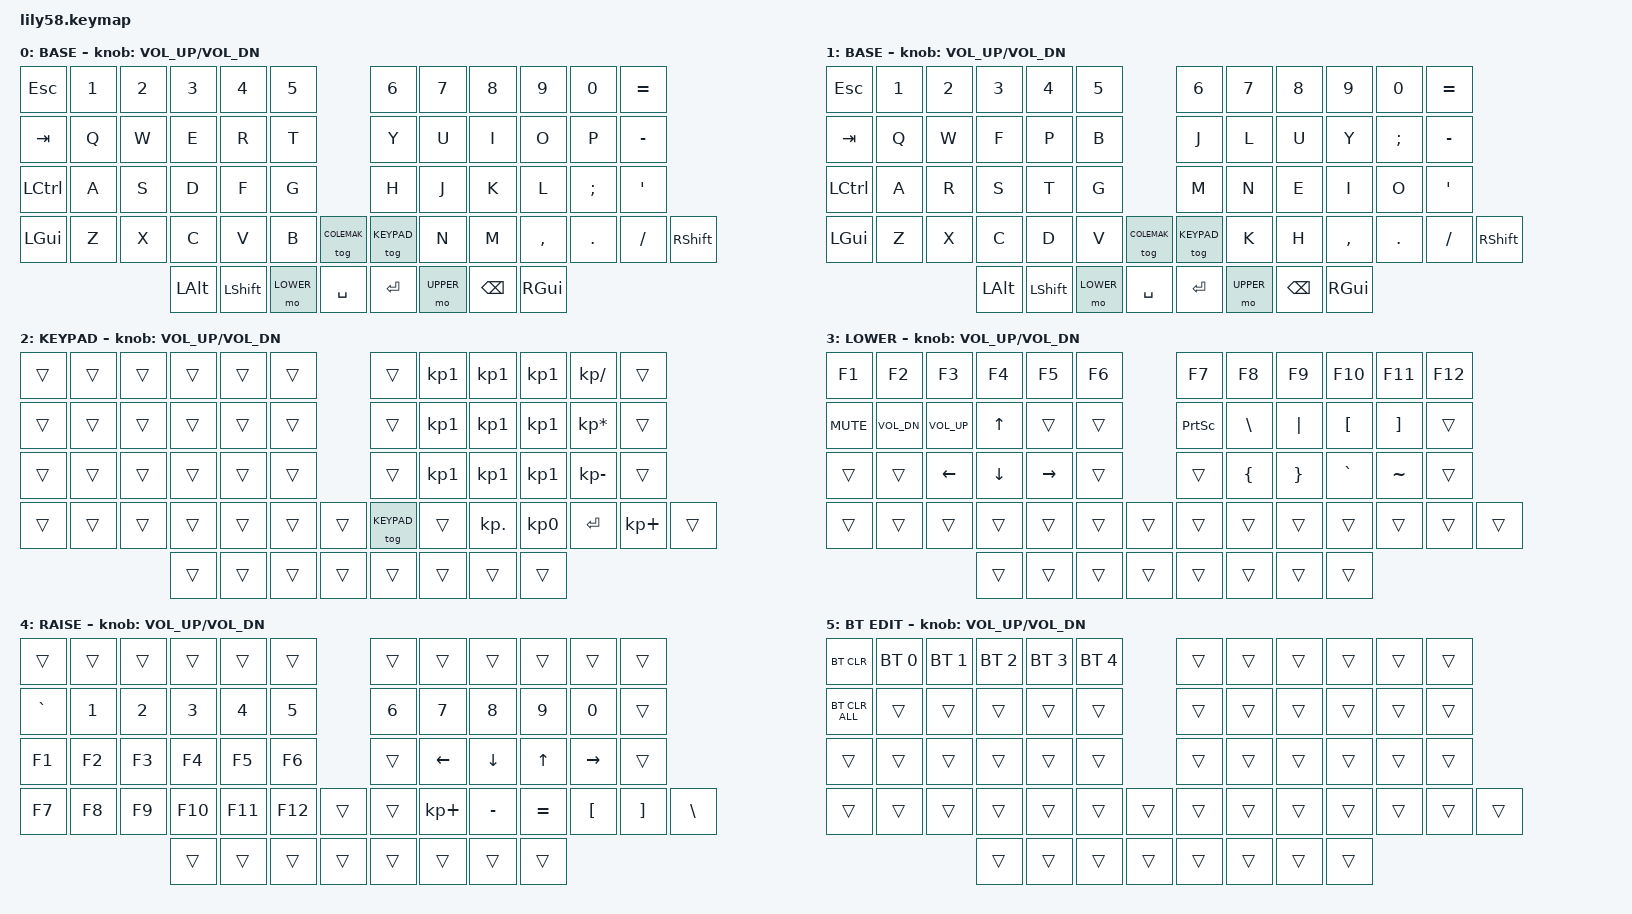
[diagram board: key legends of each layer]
/*
 * Copyright (c) 2020 The ZMK Contributors
 *
 * SPDX-License-Identifier: MIT
 */

#include <behaviors.dtsi>
#include <dt-bindings/zmk/keys.h>
#include <dt-bindings/zmk/bt.h>
#include <dt-bindings/zmk/ext_power.h>

#define DEFAULT 0
#define COLEMAK 1
#define KEYPAD 2
#define LOWER 3
#define UPPER 4
#define BTADJUST 5

// So a few rules
// 1) Ensure each key on every layer only needs one "held" key to work, if not it gets fucky.
// ie on the "lower" layer is a held key, so `/~ which are normally on a single key with shift is instead two keys, since the shift is normally the held key


/ {
    conditional_layers {
        compatible = "zmk,conditional-layers";
        bluetooth_management {
            if-layers = <LOWER UPPER>;
            then-layer = <BTADJUST>;
        };
    };
};

/ {
    keymap {
        compatible = "zmk,keymap";

        default_layer {
// ------------------------------------------------------------------------------------------------------------
// |  ESC  |  1  |  2  |  3   |  4   |  5   |                   |  6   |  7    |  8    |  9   |   0   |  = +  |
// |  TAB  |  Q  |  W  |  E   |  R   |  T   |                   |  Y   |  U    |  I    |  O   |   P   |  - _  |
// |  CTRL |  A  |  S  |  D   |  F   |  G   |                   |  H   |  J    |  K    |  L   |  ;/:  |  ' "  |
// |  GUI  |  Z  |  X  |  C   |  V   |  B   | COLEMAN|  | KEYPAD|  N   |  M    | , <   | . >  | '/' ? | SHIFT |
//                     | ALT  | SHIFT| LOWER|  SPACE |  | ENTER | RAISE| BSPC  | GUI   |
            display-name = "BASE";
            bindings = <
&kp ESC   &kp N1 &kp N2 &kp N3   &kp N4    &kp N5                     &kp N6 &kp N7   &kp N8    &kp N9  &kp N0   &kp EQUAL
&kp TAB   &kp Q  &kp W  &kp E    &kp R     &kp T                      &kp Y  &kp U    &kp I     &kp O   &kp P    &kp MINUS
&kp LCTRL &kp A  &kp S  &kp D    &kp F     &kp G                      &kp H  &kp J    &kp K     &kp L   &kp SEMI &kp SQT
&kp LGUI  &kp Z  &kp X  &kp C    &kp V     &kp B  &tog COLEMAK    &tog KEYPAD  &kp N  &kp M    &kp COMMA &kp DOT &kp FSLH &kp RSHFT
                        &kp LALT &kp LSHFT &mo LOWER  &kp SPACE &kp RET &mo UPPER  &kp BSPC &kp RGUI
            >;

            sensor-bindings = <&inc_dec_kp C_VOL_UP C_VOL_DN>;
        };

    Coleman {
// ------------------------------------------------------------------------------------------------------------
// |  ESC  |  1  |  2  |  3   |  4   |  5   |                   |  6   |  7    |  8    |  9   |   0   |  = +  |
// |  TAB  |  Q  |  W  |  F   |  P   |  B   |                   |  J   |  L    |  U    |  Y   |  ;/:  |  - _  |
// |  CTRL |  A  |  R  |  S   |  T   |  G   |                   |  M   |  N    |  E    |  I   |   O   |  ' "  |
// |  GUI  |  Z  |  X  |  C   |  D   |  V   | TOGGLE |  | KEYPAD|  K   |  H    | , <   | . >  | '/' ? | SHIFT |
//                     | ALT  | SHIFT| LOWER|  SPACE |  | ENTER | RAISE| BSPC  | GUI   |
            display-name = "BASE";
            bindings = <
&kp ESC   &kp N1 &kp N2 &kp N3   &kp N4    &kp N5                   &kp N6 &kp N7   &kp N8    &kp N9  &kp N0   &kp EQUAL
&kp TAB   &kp Q  &kp W  &kp F    &kp P     &kp B                    &kp J  &kp L    &kp U     &kp Y   &kp SEMI &kp MINUS
&kp LCTRL &kp A  &kp R  &kp S    &kp T     &kp G                    &kp M  &kp N    &kp E     &kp I   &kp O    &kp SQT
&kp LGUI  &kp Z  &kp X  &kp C    &kp D     &kp V  &tog COLEMAK    &tog KEYPAD  &kp K  &kp H    &kp COMMA &kp DOT &kp FSLH &kp RSHFT
                        &kp LALT &kp LSHFT &mo LOWER  &kp SPACE &kp RET &mo UPPER  &kp BSPC &kp RGUI
            >;

            sensor-bindings = <&inc_dec_kp C_VOL_UP C_VOL_DN>;
        };

        keypad {
// ------------------------------------------------------------------------------------------------------------
// |       |     |     |      |      |      |                   |      |   7   |   8   |   9   |   /   |       |
// |       |     |     |      |      |      |                   |      |   4   |   5   |   6   |   *   |       |
// |       |     |     |      |      |      |                   |      |   1   |   2   |   3   |   -   |       |
// |       |     |     |      |      |      |        |  |TOGGLE |      |   .   |   0   | ENTER |   +   |       |
//                     |      |      |      |        |  |       |      |       |       |
            display-name = "KEYPAD";
            bindings = <
&trans &trans &trans &trans &trans &trans               &trans &kp KP_N1  &kp KP_N1 &kp KP_N1 &kp KP_SLASH    &trans
&trans &trans &trans &trans &trans &trans               &trans &kp KP_N1  &kp KP_N1 &kp KP_N1 &kp KP_MULTIPLY &trans
&trans &trans &trans &trans &trans &trans               &trans &kp KP_N1  &kp KP_N1 &kp KP_N1 &kp KP_MINUS    &trans 
&trans &trans &trans &trans &trans &trans &trans &tog KEYPAD &trans &kp KP_DOT &kp KP_N0 &kp RET   &kp KP_PLUS     &trans
                     &trans &trans &trans &trans &trans &trans &trans     &trans
            >;

            sensor-bindings = <&inc_dec_kp C_VOL_UP C_VOL_DN>;
        };

        lower_layer {
// ------------------------------------------------------------------------------------------------------------
// |   F1  |   F2  |  F3   |  F4  |  F5  |  F6  |                   |  F7  |  F8   |  F9   |  F10  |  F11  |  F12  |
// |  MUTE | VOLDN | VOLUP |  ^   |      |      |                   |PRTSC |   \   |   |   |   [   |   ]   |       |       
// |       |       |  <-   |  v   |  ->  |      |                   |      |   {   |   }   |    `  |   ~   |       |       
// |       |       |       |      |      |      |        |  |       |      |       |       |       |       |       |
//                         |      |      |      |        |  |       |      |       |       |
            display-name = "LOWER";
            bindings = <
&kp F1     &kp F2       &kp F3       &kp F4   &kp F5    &kp F6               &kp F7    &kp F8   &kp F9   &kp F10   &kp F11   &kp F12
&kp C_MUTE &kp C_VOL_DN &kp C_VOL_UP &kp UP   &trans    &trans               &kp PSCRN &kp BSLH &kp PIPE &kp LBKT  &kp RBKT  &trans  
&trans     &trans    &kp LEFT     &kp DOWN &kp RIGHT &trans               &trans    &kp LBRC &kp RBRC &kp GRAVE &kp TILDE &trans
&trans     &trans       &trans       &trans   &trans    &trans &trans &trans &trans    &trans   &trans   &trans    &trans    &trans
                                     &trans   &trans    &trans &trans &trans &trans    &trans   &trans
            >;

            sensor-bindings = <&inc_dec_kp C_VOL_UP C_VOL_DN>;
        };

        raise_layer {
// ------------------------------------------------------------------------------------------------------------
// |       |     |     |      |      |      |                   |      |       |       |      |       |       |
// |   `   |  1  |  2  |  3   |  4   |  5   |                   |  6   |   7   |   8   |  9   |   0   |       |
// |   F1  |  F2 |  F3 |  F4  |  F5  |  F6  |                   |      |   <-  |   v   |  ^   |  ->   |       |
// |   F7  |  F8 |  F9 |  F10 |  F11 |  F12 |        |  |       |  +   |   -   |   =   |  [   |   ]   |   \   |
//                     |      |      |      |        |  |       |      |       |       |
            display-name = "RAISE";
            bindings = <
&trans    &trans &trans &trans  &trans  &trans                       &trans      &trans    &trans    &trans   &trans    &trans
&kp GRAVE &kp N1 &kp N2 &kp N3  &kp N4  &kp N5                       &kp N6      &kp N7    &kp N8    &kp N9   &kp N0    &trans
&kp F1    &kp F2 &kp F3 &kp F4  &kp F5  &kp F6                       &trans      &kp LEFT  &kp DOWN  &kp UP   &kp RIGHT &trans
&kp F7    &kp F8 &kp F9 &kp F10 &kp F11 &kp F12   &trans   &trans    &kp KP_PLUS &kp MINUS &kp EQUAL &kp LBKT &kp RBKT  &kp BSLH
                        &trans  &trans  &trans    &trans   &trans    &trans      &trans    &trans
            >;

            sensor-bindings = <&inc_dec_kp C_VOL_UP C_VOL_DN>;
        };

        bluetooth_layer {
// ------------------------------------------------------------------------------------------------------------
// | BTCLR | BT0 | BT1 |  BT2 |  BT3 |  BT4 |                   |      |       |       |       |       |       |
// |BCLRALL|     |     |      |      |      |                   |      |       |       |       |       |       |
// |       |     |     |      |      |      |                   |      |       |       |       |       |       |
// |       |     |     |      |      |      |        |  |       |      |       |       |       |       |       |
//                     |      |      |      |        |  |       |      |       |       |
            display-name = "BT EDIT";
            bindings = <
&bt BT_CLR     &bt BT_SEL 0 &bt BT_SEL 1 &bt BT_SEL 2 &bt BT_SEL 3 &bt BT_SEL 4               &trans &trans &trans &trans &trans &trans
&bt BT_CLR_ALL &trans       &trans       &trans       &trans       &trans                     &trans &trans &trans &trans &trans &trans
&trans         &trans       &trans       &trans       &trans       &trans                     &trans &trans &trans &trans &trans &trans 
&trans         &trans       &trans       &trans       &trans       &trans       &trans &trans &trans &trans &trans &trans &trans &trans
                                         &trans       &trans       &trans       &trans &trans &trans &trans &trans
            >;

            sensor-bindings = <&inc_dec_kp C_VOL_UP C_VOL_DN>;
        };




    };
};
